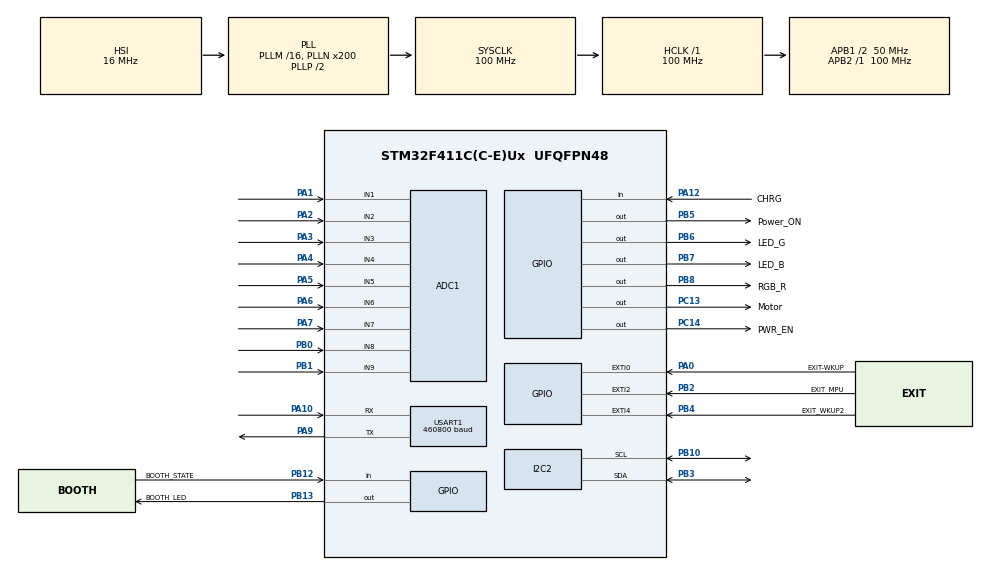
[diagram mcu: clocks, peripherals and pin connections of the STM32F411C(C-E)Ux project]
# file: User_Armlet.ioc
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ADC1.Channel-11\#ChannelRegularConversion=ADC_CHANNEL_1
ADC1.Channel-13\#ChannelRegularConversion=ADC_CHANNEL_2
ADC1.Channel-14\#ChannelRegularConversion=ADC_CHANNEL_3
ADC1.Channel-15\#ChannelRegularConversion=ADC_CHANNEL_4
ADC1.Channel-16\#ChannelRegularConversion=ADC_CHANNEL_5
ADC1.Channel-17\#ChannelRegularConversion=ADC_CHANNEL_6
ADC1.Channel-18\#ChannelRegularConversion=ADC_CHANNEL_7
ADC1.Channel-19\#ChannelRegularConversion=ADC_CHANNEL_8
ADC1.Channel-20\#ChannelRegularConversion=ADC_CHANNEL_9
ADC1.ClockPrescaler=ADC_CLOCK_SYNC_PCLK_DIV8
ADC1.ContinuousConvMode=ENABLE
ADC1.DMAContinuousRequests=ENABLE
ADC1.DiscontinuousConvMode=DISABLE
ADC1.EOCSelection=ADC_EOC_SINGLE_CONV
ADC1.EnableAnalogWatchDog=false
ADC1.InjNumberOfConversion=0
ADC1.NbrOfConversion=9
ADC1.NbrOfConversionFlag=1
ADC1.Rank-11\#ChannelRegularConversion=1
ADC1.Rank-13\#ChannelRegularConversion=2
ADC1.Rank-14\#ChannelRegularConversion=3
ADC1.Rank-15\#ChannelRegularConversion=4
ADC1.Rank-16\#ChannelRegularConversion=5
ADC1.Rank-17\#ChannelRegularConversion=6
ADC1.Rank-18\#ChannelRegularConversion=7
ADC1.Rank-19\#ChannelRegularConversion=8
ADC1.Rank-20\#ChannelRegularConversion=9
ADC1.SamplingTime-11\#ChannelRegularConversion=ADC_SAMPLETIME_144CYCLES
ADC1.SamplingTime-13\#ChannelRegularConversion=ADC_SAMPLETIME_144CYCLES
ADC1.SamplingTime-14\#ChannelRegularConversion=ADC_SAMPLETIME_144CYCLES
ADC1.SamplingTime-15\#ChannelRegularConversion=ADC_SAMPLETIME_144CYCLES
ADC1.SamplingTime-16\#ChannelRegularConversion=ADC_SAMPLETIME_144CYCLES
ADC1.SamplingTime-17\#ChannelRegularConversion=ADC_SAMPLETIME_144CYCLES
ADC1.SamplingTime-18\#ChannelRegularConversion=ADC_SAMPLETIME_144CYCLES
ADC1.SamplingTime-19\#ChannelRegularConversion=ADC_SAMPLETIME_144CYCLES
ADC1.SamplingTime-20\#ChannelRegularConversion=ADC_SAMPLETIME_144CYCLES
ADC1.ScanConvMode=ENABLE
ADC1.master=1
Dma.ADC1.0.Direction=DMA_PERIPH_TO_MEMORY
Dma.ADC1.0.FIFOMode=DMA_FIFOMODE_DISABLE
Dma.ADC1.0.Instance=DMA2_Stream0
Dma.ADC1.0.MemDataAlignment=DMA_MDATAALIGN_WORD
Dma.ADC1.0.MemInc=DMA_MINC_ENABLE
Dma.ADC1.0.Mode=DMA_CIRCULAR
Dma.ADC1.0.PeriphDataAlignment=DMA_PDATAALIGN_WORD
Dma.ADC1.0.PeriphInc=DMA_PINC_DISABLE
Dma.ADC1.0.Priority=DMA_PRIORITY_HIGH
Dma.Request0=ADC1
Mcu.Family=STM32F4
Mcu.Name=STM32F411C(C-E)Ux
Mcu.Package=UFQFPN48
NVIC.DMA2_Stream0_IRQn=true\:5\:0\:true\:false\:true\:false\:true
NVIC.EXTI0_IRQn=true\:1\:0\:true\:false\:true\:true\:true
NVIC.EXTI2_IRQn=true\:2\:0\:true\:false\:true\:true\:true
NVIC.EXTI4_IRQn=true\:1\:0\:true\:false\:true\:true\:true
NVIC.PriorityGroup=NVIC_PRIORITYGROUP_4
NVIC.TIM1_BRK_TIM9_IRQn=true\:4\:0\:true\:false\:true\:true\:true
NVIC.TIM1_TRG_COM_TIM11_IRQn=true\:6\:0\:true\:false\:true\:true\:true
NVIC.TIM1_UP_TIM10_IRQn=true\:3\:0\:true\:false\:true\:true\:true
NVIC.TIM3_IRQn=true\:4\:0\:true\:false\:true\:true\:true
NVIC.USART1_IRQn=true\:2\:0\:true\:false\:true\:true\:true
PA0-WKUP.GPIO_Label=EXIT-WKUP
PA0-WKUP.Signal=GPXTI0
PA1.Signal=ADCx_IN1
PA10.Mode=Asynchronous
PA10.Signal=USART1_RX
PA12.GPIO_Label=CHRG
PA12.GPIO_PuPd=GPIO_PULLDOWN
PA12.Signal=GPIO_Input
PA13.Mode=Serial_Wire
PA13.Signal=SYS_JTMS-SWDIO
PA14.Mode=Serial_Wire
PA14.Signal=SYS_JTCK-SWCLK
PA2.Signal=ADCx_IN2
PA3.Signal=ADCx_IN3
PA4.Signal=ADCx_IN4
PA5.Signal=ADCx_IN5
PA6.Signal=ADCx_IN6
PA7.Signal=ADCx_IN7
PA9.Mode=Asynchronous
PA9.Signal=USART1_TX
PB0.Signal=ADCx_IN8
PB1.Signal=ADCx_IN9
PB10.Mode=I2C
PB10.Signal=I2C2_SCL
PB12.GPIO_Label=BOOTH_STATE
PB12.GPIO_PuPd=GPIO_PULLDOWN
PB12.Signal=GPIO_Input
PB13.GPIO_Label=BOOTH_LED
PB13.GPIO_PuPd=GPIO_PULLDOWN
PB13.PinState=GPIO_PIN_SET
PB13.Signal=GPIO_Output
PB2.GPIO_Label=EXIT_MPU
PB2.GPIO_ModeDefaultEXTI=GPIO_MODE_IT_FALLING
PB2.Signal=GPXTI2
PB3.Mode=I2C
PB3.Signal=I2C2_SDA
PB4.GPIO_Label=EXIT_WKUP2
PB4.GPIO_ModeDefaultEXTI=GPIO_MODE_IT_FALLING
PB4.Signal=GPXTI4
PB5.GPIO_Label=Power_ON
PB5.GPIO_PuPd=GPIO_PULLDOWN
PB5.PinState=GPIO_PIN_SET
PB5.Signal=GPIO_Output
PB6.GPIO_Label=LED_G
PB6.GPIO_PuPd=GPIO_PULLDOWN
PB6.PinState=GPIO_PIN_SET
PB6.Signal=GPIO_Output
PB7.GPIO_Label=LED_B
PB7.GPIO_PuPd=GPIO_PULLDOWN
PB7.PinState=GPIO_PIN_SET
PB7.Signal=GPIO_Output
PB8.GPIO_Label=RGB_R
PB8.GPIO_PuPd=GPIO_PULLDOWN
PB8.PinState=GPIO_PIN_SET
PB8.Signal=GPIO_Output
PC13-ANTI_TAMP.GPIO_Label=Motor
PC13-ANTI_TAMP.GPIO_ModeDefaultOutputPP=GPIO_MODE_OUTPUT_PP
PC13-ANTI_TAMP.GPIO_PuPd=GPIO_PULLDOWN
PC13-ANTI_TAMP.Signal=GPIO_Output
PC14-OSC32_IN.GPIO_Label=PWR_EN
PC14-OSC32_IN.GPIO_PuPd=GPIO_PULLDOWN
PC14-OSC32_IN.PinState=GPIO_PIN_SET
PC14-OSC32_IN.Signal=GPIO_Output
ProjectManager.HeapSize=0x200
ProjectManager.StackSize=0x400
ProjectManager.TargetToolchain=MDK-ARM V5.32
RCC.48MHZClocksFreq_Value=50000000
RCC.AHBFreq_Value=100000000
RCC.APB1CLKDivider=RCC_HCLK_DIV2
RCC.APB1Freq_Value=50000000
RCC.APB1TimFreq_Value=100000000
RCC.APB2Freq_Value=100000000
RCC.APB2TimFreq_Value=100000000
RCC.CortexFreq_Value=100000000
RCC.HCLKFreq_Value=100000000
RCC.HSE_VALUE=25000000
RCC.HSI_VALUE=16000000
RCC.LSE_VALUE=32768
RCC.PLLN=200
RCC.SYSCLKFreq_VALUE=100000000
RCC.SYSCLKSource=RCC_SYSCLKSOURCE_PLLCLK
RCC.VCOOutputFreq_Value=200000000
SH.ADCx_IN1.0=ADC1_IN1,IN1
SH.ADCx_IN2.0=ADC1_IN2,IN2
SH.ADCx_IN3.0=ADC1_IN3,IN3
SH.ADCx_IN4.0=ADC1_IN4,IN4
SH.ADCx_IN5.0=ADC1_IN5,IN5
SH.ADCx_IN6.0=ADC1_IN6,IN6
SH.ADCx_IN7.0=ADC1_IN7,IN7
SH.ADCx_IN8.0=ADC1_IN8,IN8
SH.ADCx_IN9.0=ADC1_IN9,IN9
TIM10.Period=1999
TIM10.Prescaler=99
TIM11.Period=49999
TIM11.Prescaler=99
TIM3.Period=50000
TIM3.Prescaler=999
TIM9.Period=1000
TIM9.Prescaler=999
USART1.BaudRate=460800
USART1.VirtualMode=VM_ASYNC
VP_TIM10_VS_ClockSourceINT.Mode=Enable_Timer
VP_TIM11_VS_ClockSourceINT.Mode=Enable_Timer
VP_TIM3_VS_ClockSourceINT.Mode=Internal
VP_TIM9_VS_ClockSourceINT.Mode=Internal
board=custom

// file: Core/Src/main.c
/* USER CODE BEGIN Header */
/**
  ******************************************************************************
  * @file           : main.c
  * @brief          : Main program body
  ******************************************************************************
  * @attention
  *
  * <h2><center>&copy; Copyright (c) 2021 STMicroelectronics.
  * All rights reserved.</center></h2>
  *
  * This software component is licensed by ST under BSD 3-Clause license,
  * the "License"; You may not use this file except in compliance with the
  * License. You may obtain a copy of the License at:
  *                        opensource.org/licenses/BSD-3-Clause
  *
  ******************************************************************************
  */
/*============================肌电臂环简易版程序 V0.0.1================================
 * 念通智能
 * 简述外设功能
 * 1.htim10:	周期2ms		中断优先级：3		作用：采集EMG
 * 2.htim11:	周期50ms		中断优先级：6		作用：电池电量判断检测，更新RGB灯色状态
 * 3.htim3:		周期200ms		中断优先级：4		作用：循环控制BOOTH_LED
 * 4.htim9:		周期10ms		中断优先级：4		作用：判断当前各种工作状态
 *
 * EXIT_GPIO2:	周期10ms		中断优先级：2		作用：IMU中断引脚
 *
 *
 *
 *
 *
 * */
/* USER CODE END Header */
#include "main.h"
#include "adc.h"
#include "dma.h"
#include "i2c.h"
#include "tim.h"
#include "usart.h"
#include "gpio.h"

/* USER CODE BEGIN PV */
//==============================User ADC Test PV================================
uint32_t AD_Value[20];	/* 8->EMG;1->battery*/
uint32_t User_ADC[9]={0};
//==============================System work PV==================================
uint8_t work_state;				//工作状态变量	1：充电充满  2：正在充电	3：正常工作	  4：电量不足  5：电量微弱请及时充电
uint8_t Booth_state;			//蓝牙连接状态  0：未连接   1：连接状态
uint8_t Charge_state;			//充电状态		0：正在充   1：已经充满
uint8_t htim9_flag;				//定时器9旗标
uint8_t TimeFlag;				//EMG中短旗标

/* USER CODE END PV */

void SystemClock_Config(void);

int main(void)
{

  /* MCU Configuration--------------------------------------------------------*/

  /* Reset of all peripherals, Initializes the Flash interface and the Systick. */
  HAL_Init();

  /* Configure the system clock */
  SystemClock_Config();

  /* USER CODE BEGIN SysInit */
  //WKUP_init();
  /* USER CODE END SysInit */

  /* Initialize all configured peripherals */
  MX_GPIO_Init();
  MX_ADC1_Init();
  MX_I2C2_Init();
  MX_USART1_UART_Init();
  MX_TIM10_Init();
  MX_TIM11_Init();
  MX_TIM3_Init();
  MX_DMA_Init();
  MX_TIM9_Init();

  /* Infinite loop */
  /* USER CODE BEGIN WHILE */

  HAL_ADC_Start_DMA(&hadc1,User_ADC,9);

//	Motor_Open();		//开电机
//	Open_LED(0);		//开紫色灯
//	HAL_Delay(200);		//稍作延时
//	Motor_Close();		//关电机
//	Close_LED(0);		//关紫色灯
//	Open_LED(2);		//单开蓝色LED，正式工作进入工作状态

//	HAL_TIM_Base_Start_IT(&htim3);
//	HAL_TIM_Base_Start_IT(&htim9);
//	HAL_TIM_Base_Start_IT(&htim10);
//	HAL_TIM_Base_Start_IT(&htim11);

  while (1)
  {

//	  HAL_Delay(500);
//	  HAL_ADC_Start(&hadc1);
//	  HAL_ADC_Start_DMA(&hadc1,AD_Value,9);
//	  HAL_ADC_Start(&hadc1);
//	  HAL_ADC_PollForConversion(&hadc1,100);
//	  AD_Value[0] = HAL_ADC_GetValue(&hadc1);
//	  HAL_ADC_Stop(&hadc1);

    /* USER CODE END WHILE */

  }
}

void SystemClock_Config(void)
{
  RCC_OscInitTypeDef RCC_OscInitStruct = {0};
  RCC_ClkInitTypeDef RCC_ClkInitStruct = {0};

  /** Configure the main internal regulator output voltage
  */
  __HAL_RCC_PWR_CLK_ENABLE();
  __HAL_PWR_VOLTAGESCALING_CONFIG(PWR_REGULATOR_VOLTAGE_SCALE1);
  /** Initializes the RCC Oscillators according to the specified parameters
  * in the RCC_OscInitTypeDef structure.
  */
  RCC_OscInitStruct.OscillatorType = RCC_OSCILLATORTYPE_HSI;
  RCC_OscInitStruct.HSIState = RCC_HSI_ON;
  RCC_OscInitStruct.HSICalibrationValue = RCC_HSICALIBRATION_DEFAULT;
  RCC_OscInitStruct.PLL.PLLState = RCC_PLL_ON;
  RCC_OscInitStruct.PLL.PLLSource = RCC_PLLSOURCE_HSI;
  RCC_OscInitStruct.PLL.PLLM = 16;
  RCC_OscInitStruct.PLL.PLLN = 200;
  RCC_OscInitStruct.PLL.PLLP = RCC_PLLP_DIV2;
  RCC_OscInitStruct.PLL.PLLQ = 4;
  if (HAL_RCC_OscConfig(&RCC_OscInitStruct) != HAL_OK)
  {
    Error_Handler();
  }
  /** Initializes the CPU, AHB and APB buses clocks
  */
  RCC_ClkInitStruct.ClockType = RCC_CLOCKTYPE_HCLK|RCC_CLOCKTYPE_SYSCLK
                              |RCC_CLOCKTYPE_PCLK1|RCC_CLOCKTYPE_PCLK2;
  RCC_ClkInitStruct.SYSCLKSource = RCC_SYSCLKSOURCE_PLLCLK;
  RCC_ClkInitStruct.AHBCLKDivider = RCC_SYSCLK_DIV1;
  RCC_ClkInitStruct.APB1CLKDivider = RCC_HCLK_DIV2;
  RCC_ClkInitStruct.APB2CLKDivider = RCC_HCLK_DIV1;

  if (HAL_RCC_ClockConfig(&RCC_ClkInitStruct, FLASH_LATENCY_3) != HAL_OK)
  {
    Error_Handler();
  }
}

/* USER CODE BEGIN 4 */
void HAL_TIM_PeriodElapsedCallback(TIM_HandleTypeDef *htim)
{
	if(htim == &htim3)
	{//蓝牙指示灯工作定时器 200ms/T
		switch(Booth_state)
		{
		case 0://如果蓝牙没有连接，循环反转IO口使其闪烁
			HAL_GPIO_TogglePin(GPIOB, GPIO_PIN_13);
			break;
		case 1://如果蓝牙处于连接状态，直接高低平使其常量
			PBout(13) = 0;
			break;
		}
		if(PBin(4) == 1)
		{//只有在接入充电器的情况下
			switch(Charge_state)
			{
			case 0://如果没有充满，绿色闪烁
				HAL_GPIO_TogglePin(GPIOB, GPIO_PIN_6);
				break;
			case 1://如果充满绿色常量
				PBout(6) = 0;
				break;
			}
		}
	}

	if(htim == &htim9)
	{//判断工作状态 10ms/T
		if(1)
		work_state = 3;		//正常状态下是蓝色常量---优先级最低
		if(LI_Old_state == 1)
		work_state = 4;		//中等电量黄色常量
		if(LI_Old_state == 0)
		work_state = 5;		//低等电量红色常量
		if(PBin(4) == 1)
		{//如果接入充电器状态
			switch(PAin(12))
			{
			case 0:		//CHRG = 0 电池正在充电
				work_state = 2;
				break;
			case 1:		//CHRG = 1 电池充满
				work_state = 1;
				break;
			}
		}//end of PB4 judege
		else
		{

		}
		if(PBin(12) == 1)
		{//蓝牙处于连接状态
			Booth_state = 1;
		}
		else
		{//蓝牙处于断开状态
			Booth_state = 0;
		}//end of PB12 judge
	}//end of htim9 judge
	if(htim == &htim10)
	{
		TimeFlag = 1;
		get_ADCdata();	//获取9路ADC数据
	}
	if(htim == &htim11)
	{
		Bat_Filter();	//电池电量判断函数
		switch(work_state)
		{
		case 1:
			Charge_state = 1;	//充满电
			Close_LED(2);
			Close_LED(3);		//其他定时器里用绿色反转，就不要全部关闭，以免干扰
			break;
		case 2:
			Charge_state = 0;	//正在充电
			Close_LED(2);
			Close_LED(3);		//其他定时器里用绿色反转，就不要全部关闭，以免干扰
			break;
		case 3:
			Close_LED(0);
			Open_LED(2);		//正常状态开蓝色
			break;
		case 4:
			Close_LED(0);
			Open_LED(4);		//电量中等开黄灯
			break;
		case 5:
			Close_LED(0);
			Open_LED(3);		//电量微弱，开红灯
			break;
		}
	}
}
/* USER CODE END 4 */

void Error_Handler(void)
{
  __disable_irq();
  while (1)
  {
  }
}

/************************ (C) COPYRIGHT STMicroelectronics *****END OF FILE****/
